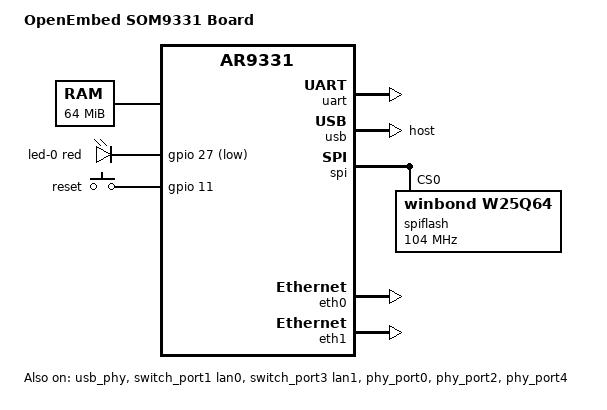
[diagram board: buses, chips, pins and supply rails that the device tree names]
// SPDX-License-Identifier: (GPL-2.0 OR MIT)
/dts-v1/;

#include <dt-bindings/gpio/gpio.h>
#include <dt-bindings/input/input.h>
#include <dt-bindings/leds/common.h>

#include "ar9331.dtsi"

/ {
	model = "OpenEmbed SOM9331 Board";
	compatible = "openembed,som9331";

	aliases {
		serial0 = &uart;
	};

	memory@0 {
		device_type = "memory";
		reg = <0x0 0x4000000>;
	};

	leds {
		compatible = "gpio-leds";

		led-0 {
			function = LED_FUNCTION_STATUS;
			color = <LED_COLOR_ID_RED>;
			gpios = <&gpio 27 GPIO_ACTIVE_LOW>;
			default-state = "off";
		};
	};

	gpio-keys {
		compatible = "gpio-keys";
		#address-cells = <1>;
		#size-cells = <0>;

		button@0 {
			label = "reset";
			linux,code = <KEY_RESTART>;
			gpios = <&gpio 11 GPIO_ACTIVE_HIGH>;
		};
	};
};

&ref {
	clock-frequency = <25000000>;
};

&uart {
	status = "okay";
};

&gpio {
	status = "okay";
};

&usb {
	dr_mode = "host";
	status = "okay";
};

&usb_phy {
	status = "okay";
};

&spi {
	num-chipselects = <1>;
	status = "okay";

	/* Winbond 25Q64FVSIG SPI flash */
	spiflash: w25q64@0 {
		#address-cells = <1>;
		#size-cells = <1>;
		compatible = "winbond,w25q64", "jedec,spi-nor";
		spi-max-frequency = <104000000>;
		reg = <0>;
	};
};

&eth0 {
	status = "okay";
};

&eth1 {
	status = "okay";
};

&switch_port1 {
	label = "lan0";
	status = "okay";
};

&switch_port3 {
	label = "lan1";
	status = "okay";
};

&phy_port0 {
	status = "okay";
};

&phy_port2 {
	status = "okay";
};

&phy_port4 {
	status = "okay";
};
